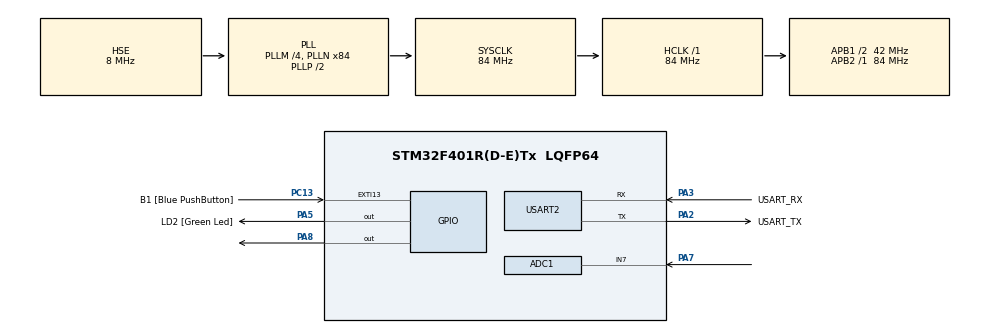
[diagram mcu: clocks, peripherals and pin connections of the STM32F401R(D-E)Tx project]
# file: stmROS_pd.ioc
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ADC1.Channel-0\#ChannelRegularConversion=ADC_CHANNEL_7
ADC1.ExternalTrigConv=ADC_EXTERNALTRIGCONV_T3_TRGO
ADC1.NbrOfConversionFlag=1
ADC1.Rank-0\#ChannelRegularConversion=1
ADC1.SamplingTime-0\#ChannelRegularConversion=ADC_SAMPLETIME_3CYCLES
ADC1.master=1
Dma.Request0=USART2_RX
Dma.Request1=USART2_TX
Dma.USART2_RX.0.Direction=DMA_PERIPH_TO_MEMORY
Dma.USART2_RX.0.FIFOMode=DMA_FIFOMODE_DISABLE
Dma.USART2_RX.0.Instance=DMA1_Stream5
Dma.USART2_RX.0.MemDataAlignment=DMA_MDATAALIGN_BYTE
Dma.USART2_RX.0.MemInc=DMA_MINC_ENABLE
Dma.USART2_RX.0.Mode=DMA_CIRCULAR
Dma.USART2_RX.0.PeriphDataAlignment=DMA_PDATAALIGN_BYTE
Dma.USART2_RX.0.PeriphInc=DMA_PINC_DISABLE
Dma.USART2_RX.0.Priority=DMA_PRIORITY_VERY_HIGH
Dma.USART2_TX.1.Direction=DMA_MEMORY_TO_PERIPH
Dma.USART2_TX.1.FIFOMode=DMA_FIFOMODE_DISABLE
Dma.USART2_TX.1.Instance=DMA1_Stream6
Dma.USART2_TX.1.MemDataAlignment=DMA_MDATAALIGN_BYTE
Dma.USART2_TX.1.MemInc=DMA_MINC_ENABLE
Dma.USART2_TX.1.Mode=DMA_NORMAL
Dma.USART2_TX.1.PeriphDataAlignment=DMA_PDATAALIGN_BYTE
Dma.USART2_TX.1.PeriphInc=DMA_PINC_DISABLE
Dma.USART2_TX.1.Priority=DMA_PRIORITY_VERY_HIGH
FREERTOS.Tasks01=defaultTask,24,3000,StartDefaultTask,Default,NULL,Static,defaultTaskBuffer,defaultTaskControlBlock
FREERTOS.configUSE_NEWLIB_REENTRANT=1
Mcu.Family=STM32F4
Mcu.Name=STM32F401R(D-E)Tx
Mcu.Package=LQFP64
NVIC.ADC_IRQn=true\:5\:0\:false\:false\:true\:true\:true\:true\:true
NVIC.DMA1_Stream5_IRQn=true\:5\:0\:false\:false\:true\:true\:false\:true\:true
NVIC.DMA1_Stream6_IRQn=true\:5\:0\:false\:false\:true\:true\:false\:true\:true
NVIC.PriorityGroup=NVIC_PRIORITYGROUP_4
NVIC.TIM1_UP_TIM10_IRQn=true\:15\:0\:false\:false\:true\:false\:false\:true\:true
NVIC.TimeBase=TIM1_UP_TIM10_IRQn
NVIC.TimeBaseIP=TIM1
NVIC.USART2_IRQn=true\:5\:0\:false\:false\:true\:true\:true\:true\:true
PA13.GPIO_Label=TMS
PA13.Signal=SYS_JTMS-SWDIO
PA14.GPIO_Label=TCK
PA14.Signal=SYS_JTCK-SWCLK
PA2.GPIO_Label=USART_TX
PA2.GPIO_Mode=GPIO_MODE_AF_PP
PA2.GPIO_PuPd=GPIO_NOPULL
PA2.GPIO_Speed=GPIO_SPEED_FREQ_LOW
PA2.Mode=Asynchronous
PA2.Signal=USART2_TX
PA3.GPIO_Label=USART_RX
PA3.GPIO_Mode=GPIO_MODE_AF_PP
PA3.GPIO_PuPd=GPIO_NOPULL
PA3.GPIO_Speed=GPIO_SPEED_FREQ_LOW
PA3.Mode=Asynchronous
PA3.Signal=USART2_RX
PA5.GPIO_Label=LD2 [Green Led]
PA5.GPIO_Mode=GPIO_MODE_OUTPUT_PP
PA5.GPIO_PuPd=GPIO_NOPULL
PA5.GPIO_Speed=GPIO_SPEED_FREQ_LOW
PA5.Signal=GPIO_Output
PA7.Signal=ADCx_IN7
PA8.Signal=GPIO_Output
PB3.GPIO_Label=SWO
PB3.Signal=SYS_JTDO-SWO
PC13-ANTI_TAMP.GPIO_Label=B1 [Blue PushButton]
PC13-ANTI_TAMP.GPIO_ModeDefaultEXTI=GPIO_MODE_IT_FALLING
PC13-ANTI_TAMP.GPIO_PuPd=GPIO_NOPULL
PC13-ANTI_TAMP.Signal=GPXTI13
PC14-OSC32_IN.Signal=RCC_OSC32_IN
PC15-OSC32_OUT.Signal=RCC_OSC32_OUT
PH0\ -\ OSC_IN.Mode=HSE-External-Oscillator
PH0\ -\ OSC_IN.Signal=RCC_OSC_IN
PH1\ -\ OSC_OUT.Mode=HSE-External-Oscillator
PH1\ -\ OSC_OUT.Signal=RCC_OSC_OUT
ProjectManager.HeapSize=0x200
ProjectManager.StackSize=0x400
ProjectManager.TargetToolchain=STM32CubeIDE
RCC.48MHZClocksFreq_Value=24000000
RCC.AHBFreq_Value=84000000
RCC.APB1CLKDivider=RCC_HCLK_DIV2
RCC.APB1Freq_Value=42000000
RCC.APB1TimFreq_Value=84000000
RCC.APB2Freq_Value=84000000
RCC.APB2TimFreq_Value=84000000
RCC.CortexFreq_Value=84000000
RCC.HCLKFreq_Value=84000000
RCC.HSE_VALUE=8000000
RCC.HSI_VALUE=16000000
RCC.LSE_VALUE=32768
RCC.PLLM=4
RCC.PLLN=84
RCC.PLLQ=7
RCC.PLLSourceVirtual=RCC_PLLSOURCE_HSE
RCC.SYSCLKFreq_VALUE=84000000
RCC.SYSCLKSource=RCC_SYSCLKSOURCE_PLLCLK
RCC.VCOOutputFreq_Value=168000000
SH.ADCx_IN7.0=ADC1_IN7,IN7
TIM3.AutoReloadPreload=TIM_AUTORELOAD_PRELOAD_ENABLE
TIM3.Period=345
TIM3.Prescaler=2
TIM3.TIM_MasterOutputTrigger=TIM_TRGO_UPDATE
USART2.VirtualMode=VM_ASYNC
VP_FREERTOS_VS_CMSIS_V2.Mode=CMSIS_V2
VP_SYS_VS_tim1.Mode=TIM1
VP_TIM3_VS_ClockSourceINT.Mode=Internal
board=NUCLEO-F401RE

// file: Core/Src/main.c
/* USER CODE BEGIN Header */
/**
  ******************************************************************************
  * @file           : main.c
  * @brief          : Main program body
  ******************************************************************************
  * @attention
  *
  * Copyright (c) 2024 STMicroelectronics.
  * All rights reserved.
  *
  * This software is licensed under terms that can be found in the LICENSE file
  * in the root directory of this software component.
  * If no LICENSE file comes with this software, it is provided AS-IS.
  *
  ******************************************************************************
  */
/* USER CODE END Header */
#include "main.h"
#include "cmsis_os.h"

/* USER CODE BEGIN Includes */
#include <rcl/rcl.h>
#include <rcl/error_handling.h>
#include <rclc/rclc.h>
#include <rclc/executor.h>
#include <uxr/client/transport.h>
#include <rmw_microxrcedds_c/config.h>
#include <rmw_microros/rmw_microros.h>

#include <std_msgs/msg/int32.h>
#include <stdbool.h>
/* USER CODE END Includes */

typedef StaticTask_t osStaticThreadDef_t;

/* USER CODE BEGIN PM */
#define MAX_PEAKS 30
#define SAMPLES_PER_FRAME 3200
#define SAMPLES_PER_HALF_FRAME 1600
#define MIN_PEAK 420
#define MAX_PEAK_LENGTH 100
#define MIN_CONSECUTIVE_PEAKS 6
/* USER CODE END PM */

ADC_HandleTypeDef hadc1;

TIM_HandleTypeDef htim3;

UART_HandleTypeDef huart2;
DMA_HandleTypeDef hdma_usart2_rx;
DMA_HandleTypeDef hdma_usart2_tx;

/* Definitions for defaultTask */
osThreadId_t defaultTaskHandle;
uint32_t defaultTaskBuffer[ 3000 ];
osStaticThreadDef_t defaultTaskControlBlock;
const osThreadAttr_t defaultTask_attributes = {
  .name = "defaultTask",
  .cb_mem = &defaultTaskControlBlock,
  .cb_size = sizeof(defaultTaskControlBlock),
  .stack_mem = &defaultTaskBuffer[0],
  .stack_size = sizeof(defaultTaskBuffer),
  .priority = (osPriority_t) osPriorityNormal,
};
/* USER CODE BEGIN PV */
uint16_t AD_RES = 0;
uint16_t data[SAMPLES_PER_FRAME] = {0};
uint16_t dataPeak[MAX_PEAKS] = {0};
uint16_t timePeak[MAX_PEAKS] = {0};
uint16_t sampleCounter = 0;
uint16_t peakCounter = 0;
uint16_t peakCounterEnd = 0;
uint16_t findPeakCounter = 0;
uint16_t consPeakCounter = 0;
uint16_t findPeakFlag = 0;
uint8_t flagNewSample = 0;
uint8_t flagOddSample = 0;
uint8_t flagNewData = 0;
uint8_t flagNewPeak = 0;
uint8_t flagPD = 0;
uint8_t countPD = 0;
uint16_t peakDiff = 0;
uint16_t timeOffset = 0;
uint16_t timeOffsetOld = 0;
uint16_t minPeak = 0;
uint16_t maxPeakFrame = 0;
/* USER CODE END PV */

void SystemClock_Config(void);
static void MX_GPIO_Init(void);
static void MX_DMA_Init(void);
static void MX_USART2_UART_Init(void);
static void MX_ADC1_Init(void);
static void MX_TIM3_Init(void);
void StartDefaultTask(void *argument);

int main(void)
{

  /* MCU Configuration--------------------------------------------------------*/

  /* Reset of all peripherals, Initializes the Flash interface and the Systick. */
  HAL_Init();

  /* Configure the system clock */
  SystemClock_Config();

  /* Initialize all configured peripherals */
  MX_GPIO_Init();
  MX_DMA_Init();
  MX_USART2_UART_Init();
  MX_ADC1_Init();
  MX_TIM3_Init();
  /* USER CODE BEGIN 2 */
  HAL_TIM_Base_Start(&htim3);
  HAL_ADC_Start_IT(&hadc1);
  /* USER CODE END 2 */

  /* Init scheduler */
  osKernelInitialize();

  /* Create the thread(s) */
  /* creation of defaultTask */
  defaultTaskHandle = osThreadNew(StartDefaultTask, NULL, &defaultTask_attributes);

  /* Start scheduler */
  osKernelStart();

  /* We should never get here as control is now taken by the scheduler */
  /* Infinite loop */
  while (1)
  {

    /* USER CODE BEGIN 3 */
  }

}
//Callback to be executed after each ADC conversion has finished
void HAL_ADC_ConvCpltCallback(ADC_HandleTypeDef* hadc)
{
    AD_RES = HAL_ADC_GetValue(&hadc1); // Read & Update The ADC Result
    flagNewSample = 1;
    HAL_GPIO_TogglePin(GPIOA, GPIO_PIN_8); // Toggle Interrupt Rate Indicator Pin
}
  /* USER CODE END 3 */

void SystemClock_Config(void)
{
  RCC_OscInitTypeDef RCC_OscInitStruct = {0};
  RCC_ClkInitTypeDef RCC_ClkInitStruct = {0};

  /** Configure the main internal regulator output voltage
  */
  __HAL_RCC_PWR_CLK_ENABLE();
  __HAL_PWR_VOLTAGESCALING_CONFIG(PWR_REGULATOR_VOLTAGE_SCALE2);

  /** Initializes the RCC Oscillators according to the specified parameters
  * in the RCC_OscInitTypeDef structure.
  */
  RCC_OscInitStruct.OscillatorType = RCC_OSCILLATORTYPE_HSE;
  RCC_OscInitStruct.HSEState = RCC_HSE_ON;
  RCC_OscInitStruct.PLL.PLLState = RCC_PLL_ON;
  RCC_OscInitStruct.PLL.PLLSource = RCC_PLLSOURCE_HSE;
  RCC_OscInitStruct.PLL.PLLM = 4;
  RCC_OscInitStruct.PLL.PLLN = 84;
  RCC_OscInitStruct.PLL.PLLP = RCC_PLLP_DIV2;
  RCC_OscInitStruct.PLL.PLLQ = 7;
  if (HAL_RCC_OscConfig(&RCC_OscInitStruct) != HAL_OK)
  {
    Error_Handler();
  }

  /** Initializes the CPU, AHB and APB buses clocks
  */
  RCC_ClkInitStruct.ClockType = RCC_CLOCKTYPE_HCLK|RCC_CLOCKTYPE_SYSCLK
                              |RCC_CLOCKTYPE_PCLK1|RCC_CLOCKTYPE_PCLK2;
  RCC_ClkInitStruct.SYSCLKSource = RCC_SYSCLKSOURCE_PLLCLK;
  RCC_ClkInitStruct.AHBCLKDivider = RCC_SYSCLK_DIV1;
  RCC_ClkInitStruct.APB1CLKDivider = RCC_HCLK_DIV2;
  RCC_ClkInitStruct.APB2CLKDivider = RCC_HCLK_DIV1;

  if (HAL_RCC_ClockConfig(&RCC_ClkInitStruct, FLASH_LATENCY_2) != HAL_OK)
  {
    Error_Handler();
  }
}

static void MX_ADC1_Init(void)
{

  ADC_ChannelConfTypeDef sConfig = {0};

  /** Configure the global features of the ADC (Clock, Resolution, Data Alignment and number of conversion)
  */
  hadc1.Instance = ADC1;
  hadc1.Init.ClockPrescaler = ADC_CLOCK_SYNC_PCLK_DIV4;
  hadc1.Init.Resolution = ADC_RESOLUTION_12B;
  hadc1.Init.ScanConvMode = DISABLE;
  hadc1.Init.ContinuousConvMode = DISABLE;
  hadc1.Init.DiscontinuousConvMode = DISABLE;
  hadc1.Init.ExternalTrigConvEdge = ADC_EXTERNALTRIGCONVEDGE_RISING;
  hadc1.Init.ExternalTrigConv = ADC_EXTERNALTRIGCONV_T3_TRGO;
  hadc1.Init.DataAlign = ADC_DATAALIGN_RIGHT;
  hadc1.Init.NbrOfConversion = 1;
  hadc1.Init.DMAContinuousRequests = DISABLE;
  hadc1.Init.EOCSelection = ADC_EOC_SINGLE_CONV;
  if (HAL_ADC_Init(&hadc1) != HAL_OK)
  {
    Error_Handler();
  }

  /** Configure for the selected ADC regular channel its corresponding rank in the sequencer and its sample time.
  */
  sConfig.Channel = ADC_CHANNEL_7;
  sConfig.Rank = 1;
  sConfig.SamplingTime = ADC_SAMPLETIME_3CYCLES;
  if (HAL_ADC_ConfigChannel(&hadc1, &sConfig) != HAL_OK)
  {
    Error_Handler();
  }

}

static void MX_TIM3_Init(void)
{

  TIM_ClockConfigTypeDef sClockSourceConfig = {0};
  TIM_MasterConfigTypeDef sMasterConfig = {0};

  htim3.Instance = TIM3;
  htim3.Init.Prescaler = 2;
  htim3.Init.CounterMode = TIM_COUNTERMODE_UP;
  htim3.Init.Period = 345;
  htim3.Init.ClockDivision = TIM_CLOCKDIVISION_DIV1;
  htim3.Init.AutoReloadPreload = TIM_AUTORELOAD_PRELOAD_ENABLE;
  if (HAL_TIM_Base_Init(&htim3) != HAL_OK)
  {
    Error_Handler();
  }
  sClockSourceConfig.ClockSource = TIM_CLOCKSOURCE_INTERNAL;
  if (HAL_TIM_ConfigClockSource(&htim3, &sClockSourceConfig) != HAL_OK)
  {
    Error_Handler();
  }
  sMasterConfig.MasterOutputTrigger = TIM_TRGO_UPDATE;
  sMasterConfig.MasterSlaveMode = TIM_MASTERSLAVEMODE_DISABLE;
  if (HAL_TIMEx_MasterConfigSynchronization(&htim3, &sMasterConfig) != HAL_OK)
  {
    Error_Handler();
  }

}

static void MX_USART2_UART_Init(void)
{

  huart2.Instance = USART2;
  huart2.Init.BaudRate = 115200;
  huart2.Init.WordLength = UART_WORDLENGTH_8B;
  huart2.Init.StopBits = UART_STOPBITS_1;
  huart2.Init.Parity = UART_PARITY_NONE;
  huart2.Init.Mode = UART_MODE_TX_RX;
  huart2.Init.HwFlowCtl = UART_HWCONTROL_NONE;
  huart2.Init.OverSampling = UART_OVERSAMPLING_16;
  if (HAL_UART_Init(&huart2) != HAL_OK)
  {
    Error_Handler();
  }

}

static void MX_DMA_Init(void)
{

  /* DMA controller clock enable */
  __HAL_RCC_DMA1_CLK_ENABLE();

  /* DMA interrupt init */
  /* DMA1_Stream5_IRQn interrupt configuration */
  HAL_NVIC_SetPriority(DMA1_Stream5_IRQn, 5, 0);
  HAL_NVIC_EnableIRQ(DMA1_Stream5_IRQn);
  /* DMA1_Stream6_IRQn interrupt configuration */
  HAL_NVIC_SetPriority(DMA1_Stream6_IRQn, 5, 0);
  HAL_NVIC_EnableIRQ(DMA1_Stream6_IRQn);

}

static void MX_GPIO_Init(void)
{
  GPIO_InitTypeDef GPIO_InitStruct = {0};

  /* GPIO Ports Clock Enable */
  __HAL_RCC_GPIOC_CLK_ENABLE();
  __HAL_RCC_GPIOH_CLK_ENABLE();
  __HAL_RCC_GPIOA_CLK_ENABLE();
  __HAL_RCC_GPIOB_CLK_ENABLE();

  /*Configure GPIO pin Output Level */
  HAL_GPIO_WritePin(GPIOA, LD2_Pin|GPIO_PIN_8, GPIO_PIN_RESET);

  /*Configure GPIO pin : B1_Pin */
  GPIO_InitStruct.Pin = B1_Pin;
  GPIO_InitStruct.Mode = GPIO_MODE_IT_FALLING;
  GPIO_InitStruct.Pull = GPIO_NOPULL;
  HAL_GPIO_Init(B1_GPIO_Port, &GPIO_InitStruct);

  /*Configure GPIO pins : LD2_Pin PA8 */
  GPIO_InitStruct.Pin = LD2_Pin|GPIO_PIN_8;
  GPIO_InitStruct.Mode = GPIO_MODE_OUTPUT_PP;
  GPIO_InitStruct.Pull = GPIO_NOPULL;
  GPIO_InitStruct.Speed = GPIO_SPEED_FREQ_LOW;
  HAL_GPIO_Init(GPIOA, &GPIO_InitStruct);

}

/* USER CODE BEGIN 4 */
bool cubemx_transport_open(struct uxrCustomTransport * transport);
bool cubemx_transport_close(struct uxrCustomTransport * transport);
size_t cubemx_transport_write(struct uxrCustomTransport* transport, const uint8_t * buf, size_t len, uint8_t * err);
size_t cubemx_transport_read(struct uxrCustomTransport* transport, uint8_t* buf, size_t len, int timeout, uint8_t* err);

void * microros_allocate(size_t size, void * state);
void microros_deallocate(void * pointer, void * state);
void * microros_reallocate(void * pointer, size_t size, void * state);
void * microros_zero_allocate(size_t number_of_elements, size_t size_of_element, void * state);
/* USER CODE END 4 */

void StartDefaultTask(void *argument)
{
  /* USER CODE BEGIN 5 */
	  // micro-ROS configuration

	  rmw_uros_set_custom_transport(
	    true,
	    (void *) &huart2,
	    cubemx_transport_open,
	    cubemx_transport_close,
	    cubemx_transport_write,
	    cubemx_transport_read);

	  rcl_allocator_t freeRTOS_allocator = rcutils_get_zero_initialized_allocator();
	  freeRTOS_allocator.allocate = microros_allocate;
	  freeRTOS_allocator.deallocate = microros_deallocate;
	  freeRTOS_allocator.reallocate = microros_reallocate;
	  freeRTOS_allocator.zero_allocate =  microros_zero_allocate;

	  if (!rcutils_set_default_allocator(&freeRTOS_allocator)) {
	      printf("Error on default allocators (line %d)\n", __LINE__);
	  }

	  // micro-ROS app

	  rcl_publisher_t publisher;
	  std_msgs__msg__Int32 msg;
	  rclc_support_t support;
	  rcl_allocator_t allocator;
	  rcl_node_t node;

	  allocator = rcl_get_default_allocator();

	  //create init_options
	  rclc_support_init(&support, 0, NULL, &allocator);

	  // create node
	  rclc_node_init_default(&node, "cubemx_node", "", &support);

	  // create publisher
	  rclc_publisher_init_default(
	    &publisher,
	    &node,
	    ROSIDL_GET_MSG_TYPE_SUPPORT(std_msgs, msg, Int32),
	    "cubemx_publisher");

	  msg.data = 0;

	  while(1)
	  {
		  //-----------------------------------------------------
		  //----------SAMPLING-----------------------------------
		  //-----------------------------------------------------
		  if(flagNewSample == 1)
		  {
			  data[sampleCounter] = AD_RES; //save the newly aquired data sample in the data buffer
			  sampleCounter ++;
			  flagNewData = 1;
			  flagNewSample = 0;
		  }

		  //-----------------------------------------------------
		  //----------FINDING-PEAKS------------------------------
		  //-----------------------------------------------------
		  if(flagNewData == 1) //enter if a new data was saved in the buffer
		  {
			  flagNewData = 0;
			  if(findPeakFlag == 0) //if a peak finding has not been started
			  {
				  if(data[sampleCounter-1] >= MIN_PEAK && data[sampleCounter-1] >= minPeak) //if the new data is big enough to be considered part of a peak
				  {
					  findPeakFlag = 1; //start peak finding
					  dataPeak[peakCounter] = data[sampleCounter-1]; //save the amplitude of the data as the peaks amplitude
					  timePeak[peakCounter] = sampleCounter - 1 + timeOffset; //save timing of data as the peak's timing (by saving the position in the data buffer)
																			  //timeOffset comes from the end of frame, where there might be peaks left in the peak
																			  //buffer from the previous mains cycle
				  }
				  //else do nothing
			  }
			  else //if a peak finding has already been started
			  {
				  if(data[sampleCounter-1] >= dataPeak[peakCounter]) //if the new data is larger than the previous biggest in the peak
				  {
					  dataPeak[peakCounter] = data[sampleCounter-1]; //change the new data to be the current peak
					  timePeak[peakCounter] = sampleCounter -1 + timeOffset; //change the timing
				  }
				  else
				  {
					  findPeakCounter ++; //increment the counter that determines when the peak finishes
				  }
			  }

		  }

		  if(findPeakCounter == MAX_PEAK_LENGTH) //if the peak is finished
		  {
			  peakCounter ++; //increment the counter of peaks in the buffer
			  findPeakFlag = 0;
			  findPeakCounter = 0;
			  if(peakCounter == MAX_PEAKS) 	// if the peak buffer is full which is irregular -> delete all peaks
			  {							   	// and skip to the end of frame to start looking for peaks from the beginning
				  peakCounter = 0;
				  for(int i = 0; i < MAX_PEAKS; i ++)
				  {
					  dataPeak[i] = 0;
					  timePeak[i] = 0;
				  }
				  sampleCounter = SAMPLES_PER_FRAME;
			  }

			  else //if the peak buffer is not full
			  {
				  flagNewPeak = 1; //signify there is a new peak
			  }
		  }

		  //-----------------------------------------------------
		  //----------FINDING-PD---------------------------------
		  //-----------------------------------------------------
		  if(flagNewPeak == 1 && peakCounter > 1) //if there is a newly finished peak and there is more than one peak in the buffer
		  {
			  flagNewPeak = 0;
			  for(int i = 0; i < peakCounter; i++) // loop to try and find peaks before spaced by half a mains cycle or full cycle
			  {
				  peakDiff = timePeak[peakCounter-1] - timePeak[peakCounter-1-i];
				  if(peakDiff > 760)
				  {
					  if(peakDiff <= 840)
					  {
						  if(consPeakCounter < MIN_CONSECUTIVE_PEAKS)
						  {
							  consPeakCounter ++;
						  }
						  else
						  {
							  flagPD = 1; //possible pd detected
						  }
						  break;
					  }
					  else if(peakDiff > 1520)
					  {
						  if(peakDiff <= 1680)
						  {
							  if(consPeakCounter < MIN_CONSECUTIVE_PEAKS)
							  {
								  consPeakCounter ++;
							  }
							  else
							  {
								  flagPD = 1; //possible pd detected
							  }
							  break;
						  }
						  else
						  {
							  if(consPeakCounter != 0)
							  {
								  consPeakCounter --;
							  }
							  else
							  {
								  flagPD = 0; //pd not detected
							  }
							  break;
						  }
					  }
					  else
					  {
						  //760 >= peakDiff > 420
						  //continue with the loop
					  }
				  }
				  else
				  {
					  //peakDiff <= 380
					  //continue with the loop
				  }
			  }
		  }

		  //-----------------------------------------------------
		  //----------END-OF-FRAME-------------------------------
		  //-----------------------------------------------------
		  if(sampleCounter == SAMPLES_PER_FRAME) //end of frame
		  {
			  if(findPeakFlag == 1)
			  {
				  peakCounter ++;
			  }

			  peakCounterEnd = peakCounter;
			  for(int i = 0; i < peakCounterEnd; i++) //remove all peaks from buffer except for the ones in the second half of the frame
			  {
				  if(timePeak[i] <= SAMPLES_PER_HALF_FRAME + timeOffset)
				  {
					  peakCounter--;
				  }
				  else
				  {
					  break;
				  }
			  }

			  if(peakCounter != 0) //shift all remaining (if any) peaks in the buffer and set the timeOffset for next frame
			  {
				  timeOffsetOld = timeOffset;
				  timeOffset = timeOffset + SAMPLES_PER_FRAME - timePeak[peakCounterEnd - peakCounter];
				  for(int i = 0; i < peakCounterEnd; i ++)
				  {
					  if(i>=peakCounter)
					  {
						  dataPeak[i] = 0;
						  timePeak[i] = 0;
					  }
					  else
					  {
						  dataPeak[i] = dataPeak[peakCounterEnd - peakCounter + i];
						  timePeak[i] = timePeak[peakCounterEnd - peakCounter + i] + timeOffset - SAMPLES_PER_FRAME - timeOffsetOld;
					  }
				  }
			  }
			  else
			  {
				  for(int i = 0; i < peakCounterEnd; i ++)
				  {
					  dataPeak[i] = 0;
					  timePeak[i] = 0;
				  }
				  timeOffset = 0;
				  timeOffsetOld = timeOffset;
			  }

			  maxPeakFrame = 0;
			  for(int i = 0; i < peakCounter; i++) //set the minimum value a data can be considered as a peak to be at 70% of the biggest peak in the previous cycle
			  {
				  if(maxPeakFrame < dataPeak[i])
				  {
					  maxPeakFrame = dataPeak[i];
				  }
			  }
			  minPeak = 0.7 * maxPeakFrame;

			  if(findPeakFlag == 1)
			  {
				  peakCounter --;
			  }

			  sampleCounter = 0;

			  if(consPeakCounter != 0)
			  {
				  consPeakCounter --;
			  }
			  else
			  {
				  flagPD = 0;
			  }
		  }

		  //-----------------------------------------------------
		  //-------------REPORTING-------------------------------
		  //-----------------------------------------------------
		  if(sampleCounter == 1) //determine if PD has to be reported or not
		  {
			  if(flagPD == 1)
			  {
				  if(countPD != 10)
				  {
					  countPD ++;
				  }
				  else
				  {

				  }

			  }
			  else
			  {
				  if(countPD !=0)
				  {
					  countPD --;
				  }
				  else
				  {

				  }

			  }

			  if(countPD > 5) //if pd is to be reported
			  {
				  HAL_GPIO_WritePin(GPIOA, GPIO_PIN_5, GPIO_PIN_SET); //set LED for debugging
				  if (maxPeakFrame >= 1500)
				  {
					  msg.data = 22 + (maxPeakFrame-1500)/250; //send the max peak after transforming to dB
				  }
				  else
				  {
					  msg.data = maxPeakFrame/69;
				  }
				  rcl_ret_t ret = rcl_publish(&publisher, &msg, NULL); //bublish to the topic via micro-ROS
				  if (ret != RCL_RET_OK)
				  {
				    printf("Error publishing (line %d)\n", __LINE__);
				  }

			  }
			  else //if no consistent PD is detected to be reported
			  {
				  HAL_GPIO_WritePin(GPIOA, GPIO_PIN_5, GPIO_PIN_RESET); //reset LED for debugging
				  msg.data = 1;
				  rcl_ret_t ret = rcl_publish(&publisher, &msg, NULL); //send "1" via micro-ROS signifying no PD
				  if (ret != RCL_RET_OK)
				  {
				    printf("Error publishing (line %d)\n", __LINE__);
				  }
			  }

		  }
	  }
  /* USER CODE END 5 */
}

void HAL_TIM_PeriodElapsedCallback(TIM_HandleTypeDef *htim)
{
  if (htim->Instance == TIM1) {
    HAL_IncTick();
  }
}

void Error_Handler(void)
{
  __disable_irq();
  while (1)
  {
  }
}
